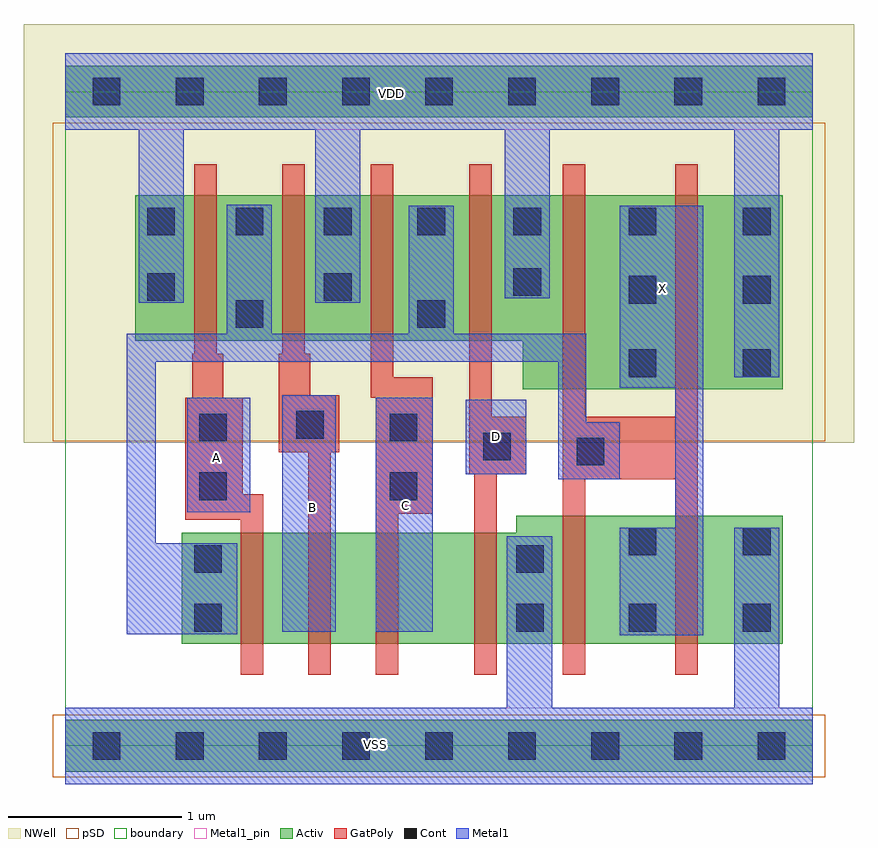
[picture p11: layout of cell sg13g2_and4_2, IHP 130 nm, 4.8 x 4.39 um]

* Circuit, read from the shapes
.subckt sg13g2_and4_2 A B C D VDD VSS X
XM1 n1 A n2 VSS sg13_lv_nmos w=0.64u l=0.13u
XM2 n3 B n1 VSS sg13_lv_nmos w=0.64u l=0.13u
XM3 n4 C n3 VSS sg13_lv_nmos w=0.64u l=0.13u
XM4 VSS D n4 VSS sg13_lv_nmos w=0.64u l=0.13u
XM5 X n2 VSS VSS sg13_lv_nmos w=0.74u l=0.13u m=2
XM6 n2 A VDD VDD sg13_lv_pmos w=0.84u l=0.13u
XM7 VDD B n2 VDD sg13_lv_pmos w=0.84u l=0.13u
XM8 n2 C VDD VDD sg13_lv_pmos w=0.84u l=0.13u
XM9 VDD D n2 VDD sg13_lv_pmos w=0.84u l=0.13u
XM10 X n2 VDD VDD sg13_lv_pmos w=1.12u l=0.13u m=2
.ends

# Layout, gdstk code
import gdstk
lib = gdstk.Library(unit=1e-6, precision=1e-09)
def R(c, l, rs):  # rectangles x0, y0, x1, y1
    for r in rs: c.add(gdstk.rectangle(r[:2], r[2:], *l))
def A(c, l, x, y, w, h, nx, ny, dx, dy):  # array of equal rectangles
    R(c, l, [(x+i*dx, y+j*dy, x+i*dx+w, y+j*dy+h) for i in range(nx) for j in range(ny)])
def P(c, l, *ps):  # polygons
    for p in ps: c.add(gdstk.Polygon(p, *l))
Activ = (1, 0)
GatPoly = (5, 0)
Cont = (6, 0)
Metal1 = (8, 0)
Metal1_pin = (8, 2)
pSD = (14, 0)
NWell = (31, 0)
boundary = (189, 4)

sg13g2_and4_2 = lib.new_cell('sg13g2_and4_2')
R(sg13g2_and4_2, Activ, [(0,-0.15,4.32,0.15), (0,3.63,4.32,3.93)])
P(sg13g2_and4_2, Activ, [(0.675,0.59),(0.675,1.23),(2.605,1.23),(2.605,1.33),(4.145,1.33),(4.145,0.59)],
  [(2.645,2.06),(2.645,2.34),(0.405,2.34),(0.405,3.18),(4.145,3.18),(4.145,2.06)])
P(sg13g2_and4_2, GatPoly, [(1.015,0.41),(1.015,1.305),(0.695,1.305),(0.695,2.01),(0.735,2.01),(0.735,2.265),(0.745,2.265),(0.745,3.36),(0.875,3.36),(0.875,2.265),(0.915,2.265),(0.915,2.01),(1.025,2.01),(1.025,1.455),(1.145,1.455),(1.145,0.41)],
  [(1.405,0.41),(1.405,1.695),(1.235,1.695),(1.235,2.265),(1.255,2.265),(1.255,3.36),(1.385,3.36),(1.385,2.265),(1.415,2.265),(1.415,2.025),(1.585,2.025),(1.585,1.695),(1.535,1.695),(1.535,0.41)],
  [(1.795,0.41),(1.795,2.01),(1.765,2.01),(1.765,3.36),(1.895,3.36),(1.895,2.13),(2.125,2.13),(2.125,1.34),(1.925,1.34),(1.925,0.41)],
  [(2.365,0.41),(2.365,1.57),(2.335,1.57),(2.335,3.36),(2.465,3.36),(2.465,1.9),(2.665,1.9),(2.665,1.57),(2.495,1.57),(2.495,0.41)],
  [(2.875,0.41),(2.875,3.36),(3.005,3.36),(3.005,1.9),(3.525,1.9),(3.525,3.36),(3.655,3.36),(3.655,0.41),(3.525,0.41),(3.525,1.54),(3.005,1.54),(3.005,0.41)])
A(sg13g2_and4_2, Cont, 0.16, -0.08, 0.16, 0.16, 9, 2, 0.48, 3.78)
A(sg13g2_and4_2, Cont, 0.475, 2.95, 0.16, 0.16, 3, 1, 0.51, 0)
R(sg13g2_and4_2, Cont, [(0.745,0.66,0.905,0.82), (2.605,0.66,2.765,0.82), (3.255,0.66,3.415,0.82), (3.915,0.66,4.075,0.82), (0.745,1,0.905,1.16), (2.605,1,2.765,1.16), (3.255,1.1,3.415,1.26), (3.915,1.1,4.075,1.26), (0.775,1.42,0.935,1.58), (1.875,1.42,2.035,1.58), (2.955,1.62,3.115,1.78), (2.415,1.65,2.575,1.81), (0.775,1.76,0.935,1.92), (1.875,1.76,2.035,1.92), (1.335,1.775,1.495,1.935), (3.255,2.13,3.415,2.29), (3.915,2.13,4.075,2.29), (0.985,2.415,1.145,2.575), (2.035,2.415,2.195,2.575), (3.255,2.555,3.415,2.715), (3.915,2.555,4.075,2.715), (0.475,2.57,0.635,2.73), (1.495,2.57,1.655,2.73), (2.59,2.6,2.75,2.76), (2.035,2.95,2.195,3.11), (2.59,2.95,2.75,3.11), (3.255,2.95,3.415,3.11), (3.915,2.95,4.075,3.11)])
R(sg13g2_and4_2, Metal1, [(1.255,0.66,1.565,2.025), (1.795,0.66,2.125,2.01), (0.705,1.35,1.07,2.01), (2.315,1.57,2.665,2)])
P(sg13g2_and4_2, Metal1, [(0,-0.22),(0,0.22),(2.55,0.22),(2.55,1.21),(2.815,1.21),(2.815,0.22),(3.865,0.22),(3.865,1.26),(4.125,1.26),(4.125,0.22),(4.32,0.22),(4.32,-0.22)],
  [(3.865,2.13),(3.865,3.56),(2.8,3.56),(2.8,2.585),(2.54,2.585),(2.54,3.56),(1.705,3.56),(1.705,2.56),(1.445,2.56),(1.445,3.56),(0.685,3.56),(0.685,2.56),(0.425,2.56),(0.425,3.56),(0,3.56),(0,4),(4.32,4),(4.32,3.56),(4.125,3.56),(4.125,2.13)],
  [(3.205,0.64),(3.205,1.26),(3.525,1.26),(3.525,2.07),(3.205,2.07),(3.205,3.12),(3.685,3.12),(3.685,0.64)],
  [(0.355,0.645),(0.355,2.38),(0.935,2.38),(0.935,3.125),(1.195,3.125),(1.195,2.38),(1.985,2.38),(1.985,3.12),(2.245,3.12),(2.245,2.38),(3.01,2.38),(3.01,1.87),(3.205,1.87),(3.205,1.54),(2.85,1.54),(2.85,2.22),(0.525,2.22),(0.525,1.17),(0.995,1.17),(0.995,0.645)])
R(sg13g2_and4_2, Metal1_pin, [(0,-0.22,4.32,0.22), (1.255,0.66,1.565,2.025), (1.795,0.66,2.125,2.01), (0.705,1.35,1.07,2.01), (2.315,1.57,2.665,2), (3.205,2.07,3.685,3.12), (0,3.56,4.32,4)])
R(sg13g2_and4_2, pSD, [(-0.07,-0.18,4.39,0.18), (-0.07,1.76,4.39,3.6)])
R(sg13g2_and4_2, NWell, [(-0.24,1.75,4.56,4.17)])
R(sg13g2_and4_2, boundary, [(0,0,4.32,3.78)])
sg13g2_and4_2.add(gdstk.Label('X', (3.45,2.64), layer=8, texttype=25))
sg13g2_and4_2.add(gdstk.Label('B', (1.43,1.38), layer=8, texttype=25))
sg13g2_and4_2.add(gdstk.Label('A', (0.875,1.665), layer=8, texttype=25))
sg13g2_and4_2.add(gdstk.Label('VDD', (1.885,3.77), layer=8, texttype=25))
sg13g2_and4_2.add(gdstk.Label('VSS', (1.795,0.01), layer=8, texttype=25))
sg13g2_and4_2.add(gdstk.Label('C', (1.965,1.39), layer=8, texttype=25))
sg13g2_and4_2.add(gdstk.Label('D', (2.49,1.785), layer=8, texttype=25))

lib.write_gds('sg13g2_and4_2.gds')
